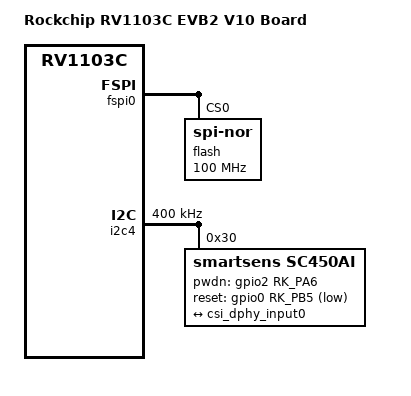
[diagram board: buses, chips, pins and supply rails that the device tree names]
// SPDX-License-Identifier: (GPL-2.0+ OR MIT)
/*
 * Copyright (c) 2024 Rockchip Electronics Co., Ltd.
 */

/dts-v1/;

#include "rv1103c.dtsi"
#include "rv1103c-evb2-v10.dtsi"
#include "rv1103c-thunder-boot-cam.dtsi"
#include "rv1103c-thunder-boot-spi-nor.dtsi"

/ {
	model = "Rockchip RV1103C EVB2 V10 Board";
	compatible = "rockchip,rv1103c-evb2-v10-400w", "rockchip,rv1103c";

	chosen {
		bootargs = "loglevel=0 earlycon=uart8250,mmio32,0x20540000 console=ttyFIQ0 root=/dev/rd0 rootfstype=erofs rootflags=dax snd_soc_core.prealloc_buffer_size_kbytes=16 coherent_pool=32K";
	};
};

&fspi0 {
	status = "okay";

	flash@0 {
		compatible = "jedec,spi-nor";
		reg = <0>;
		spi-max-frequency = <100000000>;
		spi-rx-bus-width = <4>;
		spi-tx-bus-width = <1>;
	};
};

&i2c4 {
	clock-frequency = <400000>;
	pinctrl-names = "default";
	pinctrl-0 = <&i2c4m1_xfer_pins>;
	rockchip,amp-shared;
	status = "okay";

	sc450ai: sc450ai@30 {
		compatible = "smartsens,sc450ai";
		reg = <0x30>;
		clocks = <&cru CLK_MIPI0_OUT2IO>;
		clock-names = "xvclk";
		pwdn-gpios = <&gpio2 RK_PA6 GPIO_ACTIVE_HIGH>;
		reset-gpios = <&gpio0 RK_PB5 GPIO_ACTIVE_LOW>;
		pinctrl-names = "default";
		pinctrl-0 = <&cam_clk0_pins>;
		rockchip,camera-module-index = <0>;
		rockchip,camera-module-facing = "back";
		rockchip,camera-module-name = "CMK-OT2119-PC1";
		rockchip,camera-module-lens-name = "30IRC-F16";
		port {
			cam0_out: endpoint {
				remote-endpoint = <&csi_dphy_input0>;
				data-lanes = <1 2 3 4>;
			};
		};
	};
};

&rkisp_thunderboot {
	/* reg's offset MUST match with RTOS */
	/*
	 * vicap, capture raw10, ceil(w*10/8/256)*256*h *4(buf num)
	 * e.g. 2688x1520: 0x14c8000
	 */
	reg = <0x00860000 0x14c8000>;
};

&ramdisk_r {
	reg = <0x1d28000 (16 * 0x00100000)>;
};

&ramdisk_c {
	reg = <0x2d28000 (6 * 0x00100000)>;
};
